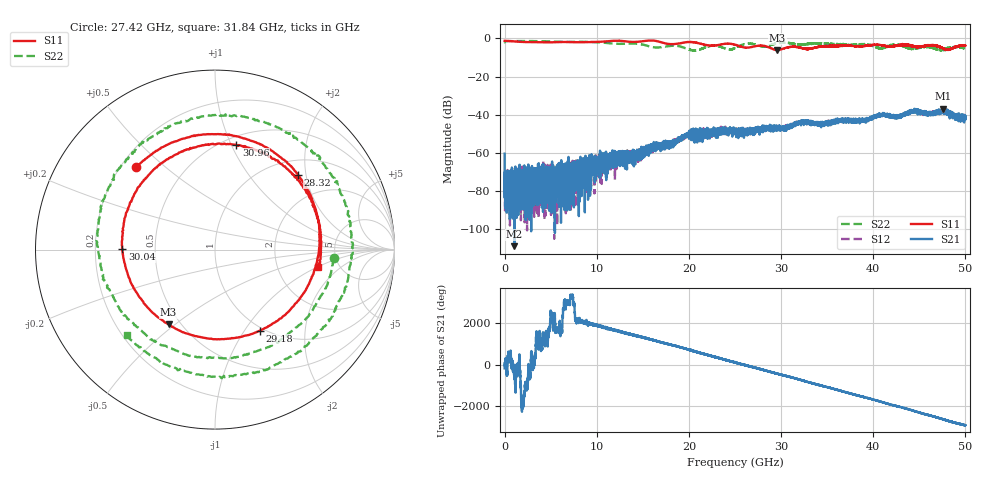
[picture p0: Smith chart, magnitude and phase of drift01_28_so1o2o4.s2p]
!Created with skrf (http://scikit-rf.org).
# Hz S RI R 50.0
!freq ReS11 ImS11 ReS21 ImS21 ReS12 ImS12 ReS22 ImS22
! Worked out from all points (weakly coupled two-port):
!   10001 points, 300 kHz to 50 GHz, reference 50 ohm
!   highest |S21| = -36.83 dB at 47.59 GHz (marker M1); lowest = -108.8 dB at 1.07 GHz (marker M2)
!   lowest |S11| = -6.2 dB at 29.61 GHz (marker M3), VSWR 2.92, Z = 21.6 - j23.7 ohm
!   |S11| at or under -10 dB: nowhere
!   |S22| runs from -6.5 to -1.4 dB; largest |S21 - S12| = 0.0039
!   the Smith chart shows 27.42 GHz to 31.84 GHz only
!   S11 on the Smith chart (normalised r, x): 27.42 GHz: 0.26, +0.40; 28.32 GHz: 1.33, +1.80; 29.18 GHz: 0.95, -1.17; 30.04 GHz: 0.32, +0.00; 30.96 GHz: 0.58, +1.04; 31.84 GHz: 3.47, -1.01
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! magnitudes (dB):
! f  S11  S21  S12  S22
! 300 kHz  -1.3  -60.4  -73.2  -2.0
! 255.3 MHz  -1.4  -81.9  -76.1  -1.4
! 1.07 GHz  -1.6  -108.8  -84.9  -1.5
! 4.61 GHz  -2.1  -74.7  -76.5  -1.6
! 8.335 GHz  -2.0  -67.3  -68.1  -1.8
! 11.12 GHz  -1.6  -67.5  -64.8  -2.5
! 16.67 GHz  -1.6  -56.1  -56.7  -4.8
! 18.62 GHz  -2.9  -53.5  -52.7  -3.9
! 20.32 GHz  -1.9  -48.3  -51.2  -6.2
! 22.6 GHz  -3.8  -49.8  -47.8  -3.8
! 25 GHz  -3.3  -49.3  -49.0  -5.1
! 27.42 GHz  -3.9  -48.3  -48.2  -3.6
! 28.32 GHz  -4.1  -47.6  -46.8  -4.2
! 29.18 GHz  -5.8  -48.0  -47.2  -3.1
! 29.61 GHz  -6.2  -47.9  -46.4  -2.5
! 30.04 GHz  -5.7  -46.7  -46.8  -2.2
! 30.96 GHz  -4.5  -46.9  -46.6  -2.5
! 31.84 GHz  -4.7  -43.8  -44.2  -3.3
! 33.34 GHz  -5.3  -44.3  -44.3  -2.7
! 41.67 GHz  -4.3  -40.6  -40.4  -4.2
! 47.59 GHz  -5.3  -36.8  -38.3  -5.5
! 50 GHz  -3.9  -42.2  -41.7  -5.4
